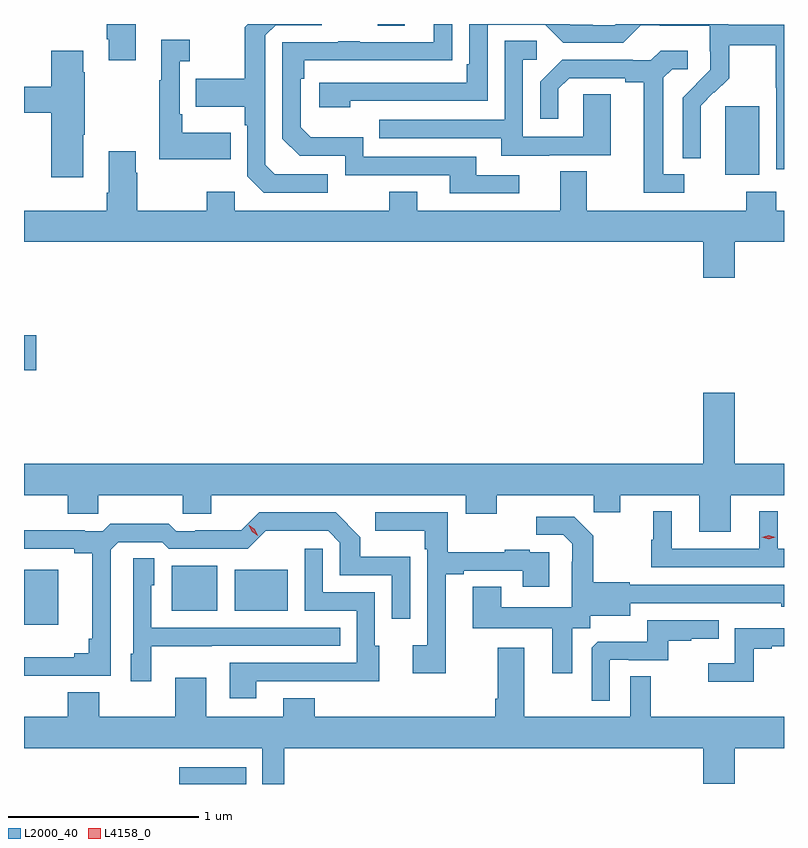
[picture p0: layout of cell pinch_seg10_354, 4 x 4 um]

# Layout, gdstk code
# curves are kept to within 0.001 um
import gdstk
lib = gdstk.Library(unit=1e-6, precision=1e-09)
def R(c, l, rs):  # rectangles x0, y0, x1, y1
    for r in rs: c.add(gdstk.rectangle(r[:2], r[2:], *l))
def P(c, l, *ps):  # polygons
    for p in ps: c.add(gdstk.Polygon(p, *l))
L2000_40 = (2000, 40)
L4158_0 = (4158, 0)

pinch_seg10_354 = lib.new_cell('pinch_seg10_354')
R(pinch_seg10_354, L2000_40, [(641.768,1274.819,642.122,1274.908), (640.952,1275.656,641.131,1275.946), (641.729,1275.731,641.968,1275.967), (642.062,1275.731,642.34,1275.946), (640.952,1276.997,641.017,1277.18), (644.642,1278.026,644.821,1278.387), (642.815,1278.81,642.955,1278.819)])
P(pinch_seg10_354, L2000_40, [(641.539,1278.819),(641.387,1278.819),(641.387,1278.739),(641.399,1278.739),(641.399,1278.627),(641.539,1278.627)],
  [(642.55,1278.027),(642.273,1278.027),(642.222,1278.078),(642.222,1278.759),(642.276,1278.813),(642.52,1278.813),(642.52,1278.819),(642.13,1278.819),(642.114,1278.803),(642.114,1278.531),(641.857,1278.531),(641.857,1278.383),(642.114,1278.383),(642.114,1278.287),(642.126,1278.287),(642.126,1278.018),(642.213,1277.931),(642.55,1277.931)],
  [(644.952,1278.816),(644.658,1278.816),(644.658,1278.819),(644.067,1278.819),(644.061,1278.813),(643.946,1278.813),(643.946,1278.816),(643.827,1278.816),(643.824,1278.819),(643.296,1278.819),(643.296,1278.607),(643.283,1278.607),(643.283,1278.51),(642.507,1278.51),(642.507,1278.38),(642.668,1278.38),(642.668,1278.414),(643.392,1278.414),(643.392,1278.816),(643.695,1278.816),(643.791,1278.72),(644.106,1278.72),(644.199,1278.813),(644.299,1278.813),(644.299,1278.809),(644.562,1278.809),(644.562,1278.675),(644.564,1278.675),(644.564,1278.578),(644.418,1278.43),(644.418,1278.112),(644.514,1278.112),(644.513,1278.389),(644.583,1278.459),(644.586,1278.456),(644.663,1278.533),(644.663,1278.708),(644.908,1278.708),(644.908,1278.484),(644.91,1278.484),(644.91,1278.055),(644.952,1278.055)],
  [(643.558,1278.024),(643.333,1278.024),(643.333,1278.12),(642.738,1278.12),(642.738,1278.223),(642.461,1278.223),(642.408,1278.276),(642.408,1278.53),(642.428,1278.53),(642.428,1278.627),(643.205,1278.628),(643.205,1278.819),(643.109,1278.819),(643.109,1278.723),(642.719,1278.723),(642.719,1278.728),(642.607,1278.728),(642.607,1278.723),(642.312,1278.723),(642.312,1278.216),(642.402,1278.126),(642.642,1278.126),(642.642,1278.024),(643.193,1278.024),(643.193,1277.928),(643.558,1277.928)],
  [(642.041,1278.247),(641.785,1278.247),(641.785,1278.343),(641.772,1278.343),(641.772,1278.623),(641.824,1278.623),(641.824,1278.736),(641.675,1278.736),(641.675,1278.523),(641.664,1278.523),(641.664,1278.107),(642.041,1278.107)],
  [(643.717,1278.129),(644.041,1278.129),(644.041,1278.449),(643.896,1278.449),(643.896,1278.225),(643.578,1278.225),(643.578,1278.63),(643.651,1278.63),(643.651,1278.731),(643.482,1278.731),(643.482,1278.315),(642.823,1278.315),(642.823,1278.219),(643.463,1278.219),(643.463,1278.125),(643.717,1278.125)],
  [(641.263,1278.235),(641.271,1278.235),(641.271,1278.566),(641.263,1278.566),(641.263,1278.679),(641.096,1278.679),(641.096,1278.488),(640.952,1278.488),(640.952,1278.352),(641.096,1278.352),(641.096,1278.012),(641.263,1278.012)],
  [(644.428,1278.027),(644.317,1278.027),(644.317,1278.535),(644.364,1278.582),(644.446,1278.582),(644.446,1278.679),(644.302,1278.679),(644.25,1278.627),(644.156,1278.627),(644.156,1278.63),(643.784,1278.63),(643.668,1278.514),(643.668,1278.321),(643.765,1278.321),(643.765,1278.477),(643.822,1278.534),(644.117,1278.534),(644.117,1278.512),(644.213,1278.512),(644.213,1277.931),(644.428,1277.931)],
  [(644.692,1277.672),(644.952,1277.672),(644.952,1277.836),(644.912,1277.836),(644.912,1277.935),(644.752,1277.935),(644.752,1277.836),(643.915,1277.836),(643.915,1278.044),(643.775,1278.044),(643.775,1277.836),(643.021,1277.836),(643.021,1277.935),(642.874,1277.935),(642.874,1277.836),(642.06,1277.836),(642.06,1277.935),(641.914,1277.935),(641.914,1277.836),(641.547,1277.836),(641.547,1278.035),(641.539,1278.035),(641.539,1278.148),(641.399,1278.148),(641.399,1277.932),(641.387,1277.932),(641.387,1277.836),(640.952,1277.836),(640.952,1277.672),(644.528,1277.672),(644.528,1277.484),(644.692,1277.484)],
  [(644.671,1276.34),(644.952,1276.34),(644.952,1276.504),(644.692,1276.504),(644.692,1276.879),(644.528,1276.879),(644.528,1276.504),(640.952,1276.504),(640.952,1276.34),(641.183,1276.34),(641.183,1276.242),(641.343,1276.242),(641.343,1276.34),(641.788,1276.34),(641.788,1276.242),(641.938,1276.242),(641.938,1276.34),(643.277,1276.34),(643.277,1276.241),(643.441,1276.241),(643.441,1276.34),(643.951,1276.34),(643.951,1276.25),(644.089,1276.25),(644.089,1276.34),(644.507,1276.34),(644.507,1276.146),(644.671,1276.146)],
  [(644.952,1276.056),(644.92,1276.056),(644.92,1276.255),(644.822,1276.255),(644.822,1276.056),(644.362,1276.056),(644.362,1276.255),(644.264,1276.255),(644.264,1276.104),(644.253,1276.104),(644.253,1275.96),(644.952,1275.96)],
  [(641.409,1276.053),(641.448,1276.092),(641.679,1276.092),(641.715,1276.056),(642.129,1276.056),(642.224,1276.151),(642.552,1276.152),(642.615,1276.089),(642.615,1275.918),(642.888,1275.918),(642.888,1275.69),(642.984,1275.69),(642.984,1276.015),(642.723,1276.015),(642.723,1276.118),(642.592,1276.248),(642.189,1276.248),(642.095,1276.154),(641.854,1276.154),(641.854,1276.149),(641.754,1276.149),(641.715,1276.189),(641.407,1276.189),(641.367,1276.149),(641.273,1276.149),(641.273,1276.154),(640.952,1276.154),(640.952,1276.056),(641.216,1276.056),(641.216,1276.034),(641.312,1276.034),(641.312,1275.583),(641.293,1275.583),(641.293,1275.506),(641.216,1275.506),(641.216,1275.487),(640.952,1275.487),(640.952,1275.39),(641.409,1275.39)],
  [(643.171,1275.924),(643.267,1275.924),(643.267,1275.942),(643.577,1275.942),(643.577,1275.858),(643.717,1275.858),(643.717,1276.038),(643.613,1276.038),(643.613,1276.051),(643.481,1276.051),(643.481,1276.04),(643.183,1276.04),(643.183,1276.248),(642.801,1276.248),(642.801,1276.151),(643.062,1276.151),(643.062,1276.055),(643.074,1276.055),(643.074,1275.55),(642.999,1275.55),(642.999,1275.402),(643.171,1275.402)],
  [(643.837,1275.64),(643.932,1275.64),(643.932,1275.704),(644.143,1275.704),(644.143,1275.771),(644.937,1275.77),(644.937,1275.752),(644.952,1275.752),(644.952,1275.867),(644.139,1275.867),(644.139,1275.88),(643.947,1275.88),(643.947,1276.125),(643.847,1276.225),(643.647,1276.225),(643.647,1276.131),(643.791,1276.131),(643.838,1276.084),(643.838,1275.989),(643.836,1275.989),(643.836,1275.748),(643.465,1275.748),(643.465,1275.857),(643.313,1275.857),(643.313,1275.638),(643.733,1275.638),(643.733,1275.402),(643.837,1275.402)],
  [(642.175,1275.36),(642.605,1275.36),(642.605,1275.359),(642.823,1275.359),(642.823,1275.546),(642.798,1275.546),(642.798,1275.828),(642.525,1275.828),(642.525,1276.057),(642.429,1276.057),(642.429,1275.732),(642.702,1275.732),(642.702,1275.456),(642.035,1275.456),(642.035,1275.27),(642.175,1275.27)],
  [(641.622,1275.545),(641.939,1275.545),(641.939,1275.546),(642.617,1275.546),(642.617,1275.642),(641.622,1275.642),(641.622,1275.864),(641.638,1275.864),(641.638,1276.007),(641.526,1276.007),(641.526,1275.504),(641.513,1275.504),(641.513,1275.36),(641.622,1275.36)],
  [(644.034,1275.474),(644.134,1275.474),(644.134,1275.471),(644.342,1275.471),(644.342,1275.573),(644.465,1275.573),(644.465,1275.584),(644.609,1275.584),(644.609,1275.681),(644.232,1275.681),(644.232,1275.569),(643.973,1275.569),(643.941,1275.537),(643.941,1275.257),(644.034,1275.257)],
  [(644.793,1275.531),(644.887,1275.531),(644.887,1275.543),(644.952,1275.543),(644.952,1275.639),(644.694,1275.639),(644.694,1275.454),(644.553,1275.454),(644.553,1275.356),(644.793,1275.356)],
  [(644.251,1275.386),(644.142,1275.386),(644.142,1275.172),(643.585,1275.172),(643.585,1275.535),(643.445,1275.535),(643.445,1275.268),(643.433,1275.268),(643.433,1275.172),(642.481,1275.172),(642.481,1275.271),(642.317,1275.271),(642.317,1275.172),(641.911,1275.172),(641.911,1275.379),(641.747,1275.379),(641.747,1275.172),(641.347,1275.172),(641.347,1275.301),(641.183,1275.301),(641.183,1275.172),(640.952,1275.172),(640.952,1275.008),(642.207,1275.008),(642.207,1274.819),(642.323,1274.819),(642.323,1275.008),(644.528,1275.008),(644.528,1274.82),(644.692,1274.82),(644.692,1275.008),(644.952,1275.008),(644.952,1275.172),(644.251,1275.172)])
P(pinch_seg10_354, L4158_0, [(644.871,1276.107),(644.836,1276.117),(644.835,1276.117),(644.836,1276.118),(644.871,1276.127),(644.907,1276.118),(644.907,1276.117),(644.907,1276.117)],
  [(642.182,1276.126),(642.152,1276.147),(642.136,1276.182),(642.136,1276.182),(642.137,1276.182),(642.167,1276.16),(642.182,1276.126),(642.182,1276.126)])

lib.write_gds('pinch_seg10_354.gds')
